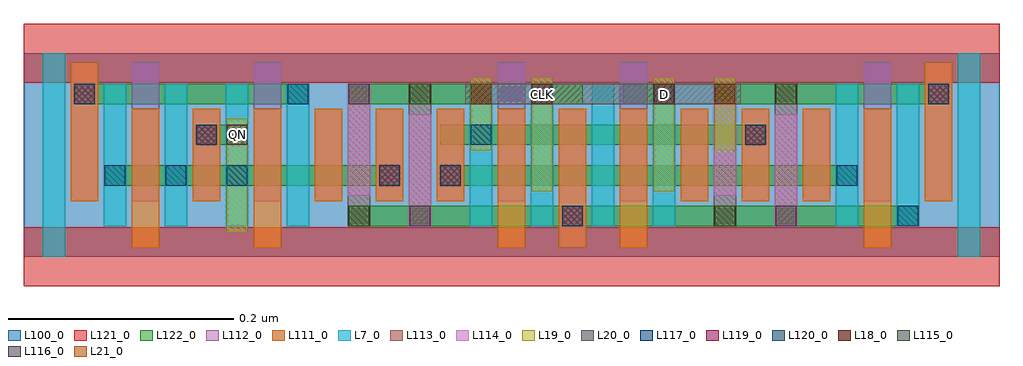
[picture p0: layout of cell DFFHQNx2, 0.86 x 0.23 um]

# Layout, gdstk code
import gdstk
lib = gdstk.Library(unit=1e-6, precision=2.5e-10)
def R(c, l, rs):  # rectangles x0, y0, x1, y1
    for r in rs: c.add(gdstk.rectangle(r[:2], r[2:], *l))
def A(c, l, x, y, w, h, nx, ny, dx, dy):  # array of equal rectangles
    R(c, l, [(x+i*dx, y+j*dy, x+i*dx+w, y+j*dy+h) for i in range(nx) for j in range(ny)])
L7_0 = (7, 0)
L18_0 = (18, 0)
L19_0 = (19, 0)
L20_0 = (20, 0)
L21_0 = (21, 0)
L100_0 = (100, 0)
L111_0 = (111, 0)
L112_0 = (112, 0)
L113_0 = (113, 0)
L114_0 = (114, 0)
L115_0 = (115, 0)
L116_0 = (116, 0)
L117_0 = (117, 0)
L119_0 = (119, 0)
L120_0 = (120, 0)
L121_0 = (121, 0)
L122_0 = (122, 0)

dffhqnx2 = lib.new_cell('DFFHQNx2')
A(dffhqnx2, L7_0, 0.071, 0.027, 0.02, 0.126, 4, 1, 0.054, 0)
A(dffhqnx2, L7_0, 0.395, 0.027, 0.02, 0.126, 4, 1, 0.054, 0)
R(dffhqnx2, L7_0, [(0.017,0,0.037,0.18), (0.827,0,0.847,0.18), (0.719,0.027,0.739,0.153), (0.773,0.027,0.793,0.153)])
R(dffhqnx2, L18_0, [(0.18,0.099,0.198,0.117), (0.396,0.135,0.414,0.153), (0.45,0.135,0.468,0.153), (0.558,0.135,0.576,0.153), (0.612,0.135,0.63,0.153)])
R(dffhqnx2, L19_0, [(0.18,0.022,0.198,0.122), (0.45,0.058,0.468,0.158), (0.558,0.058,0.576,0.158), (0.396,0.094,0.414,0.158), (0.612,0.094,0.63,0.158)])
R(dffhqnx2, L20_0, [(0.391,0.135,0.635,0.153)])
R(dffhqnx2, L21_0, [(0.396,0.135,0.414,0.153), (0.612,0.135,0.63,0.153)])
R(dffhqnx2, L100_0, [(0,0,0.864,0.18)])
A(dffhqnx2, L111_0, 0.42, 0.008, 0.024, 0.123, 3, 1, 0.054, 0)
A(dffhqnx2, L111_0, 0.258, 0.049, 0.024, 0.082, 3, 1, 0.054, 0)
A(dffhqnx2, L111_0, 0.582, 0.049, 0.024, 0.082, 3, 1, 0.054, 0)
R(dffhqnx2, L111_0, [(0.096,0.008,0.12,0.131), (0.204,0.008,0.228,0.131), (0.744,0.008,0.768,0.131), (0.042,0.049,0.066,0.172), (0.15,0.049,0.174,0.131), (0.798,0.049,0.822,0.172)])
A(dffhqnx2, L112_0, 0.258, 0.049, 0.024, 0.082, 3, 1, 0.054, 0)
A(dffhqnx2, L112_0, 0.582, 0.049, 0.024, 0.082, 3, 1, 0.054, 0)
R(dffhqnx2, L112_0, [(0.474,0.008,0.498,0.131), (0.042,0.049,0.066,0.172), (0.096,0.049,0.12,0.172), (0.15,0.049,0.174,0.131), (0.204,0.049,0.228,0.172), (0.42,0.049,0.444,0.172), (0.528,0.049,0.552,0.172), (0.744,0.049,0.768,0.172), (0.798,0.049,0.822,0.172)])
R(dffhqnx2, L113_0, [(0.287,0.027,0.307,0.153), (0.341,0.027,0.361,0.153), (0.611,0.027,0.631,0.153), (0.665,0.027,0.685,0.153)])
R(dffhqnx2, L114_0, [(0.341,0.027,0.361,0.126), (0.665,0.027,0.685,0.126), (0.287,0.054,0.307,0.153), (0.611,0.054,0.631,0.153)])
R(dffhqnx2, L115_0, [(0.288,0.027,0.306,0.045), (0.612,0.027,0.63,0.045), (0.342,0.135,0.36,0.153), (0.666,0.135,0.684,0.153)])
R(dffhqnx2, L116_0, [(0.342,0.027,0.36,0.045), (0.666,0.027,0.684,0.045), (0.288,0.135,0.306,0.153), (0.612,0.135,0.63,0.153)])
A(dffhqnx2, L117_0, 0.072, 0.063, 0.018, 0.018, 3, 1, 0.054, 0)
R(dffhqnx2, L117_0, [(0.774,0.027,0.792,0.045), (0.72,0.063,0.738,0.081), (0.396,0.099,0.414,0.117), (0.234,0.135,0.252,0.153), (0.45,0.135,0.468,0.153), (0.558,0.135,0.576,0.153)])
R(dffhqnx2, L119_0, [(0.477,0.027,0.495,0.045), (0.315,0.063,0.333,0.081), (0.369,0.063,0.387,0.081), (0.153,0.099,0.171,0.117), (0.639,0.099,0.657,0.117), (0.045,0.135,0.063,0.153), (0.801,0.135,0.819,0.153)])
R(dffhqnx2, L120_0, [(0.477,0.027,0.495,0.045), (0.315,0.063,0.333,0.081), (0.369,0.063,0.387,0.081), (0.153,0.099,0.171,0.117), (0.639,0.099,0.657,0.117), (0.045,0.135,0.063,0.153), (0.801,0.135,0.819,0.153)])
R(dffhqnx2, L121_0, [(0,-0.026,0.864,0.026), (0,0.154,0.864,0.206)])
R(dffhqnx2, L122_0, [(0.288,0.027,0.792,0.045), (0.072,0.063,0.333,0.081), (0.369,0.063,0.738,0.081), (0.153,0.099,0.198,0.117), (0.369,0.099,0.657,0.117), (0.045,0.135,0.252,0.153), (0.288,0.135,0.414,0.153), (0.45,0.135,0.495,0.153), (0.531,0.135,0.576,0.153), (0.612,0.135,0.819,0.153)])
dffhqnx2.add(gdstk.Label('QN', (0.189,0.108), layer=19, texttype=251))
dffhqnx2.add(gdstk.Label('D', (0.567,0.144), layer=19, texttype=251))
dffhqnx2.add(gdstk.Label('CLK', (0.459,0.144), layer=19, texttype=251))

lib.write_gds('DFFHQNx2.gds')
